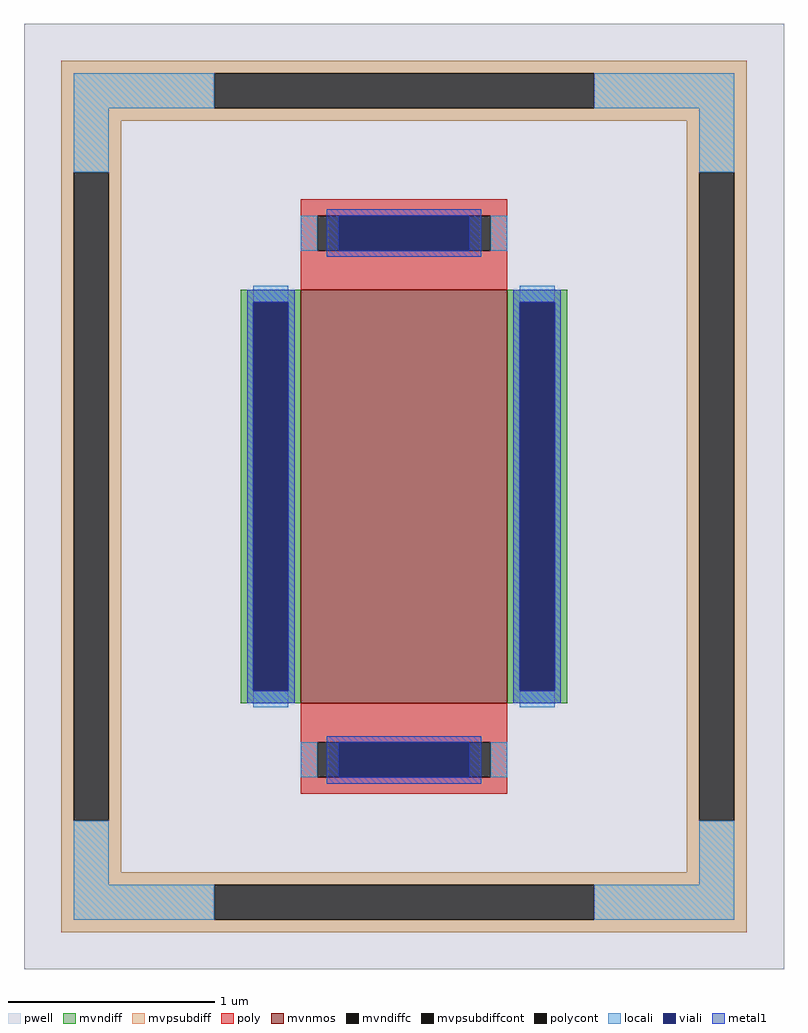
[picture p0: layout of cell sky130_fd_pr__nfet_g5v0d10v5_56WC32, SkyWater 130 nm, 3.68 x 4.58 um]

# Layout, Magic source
magic
tech sky130A
magscale 1 2
<< pwell >>
rect -368 -458 368 458
<< mvnmos >>
rect -100 -200 100 200
<< mvndiff >>
rect -158 188 -100 200
rect -158 -188 -146 188
rect -112 -188 -100 188
rect -158 -200 -100 -188
rect 100 188 158 200
rect 100 -188 112 188
rect 146 -188 158 188
rect 100 -200 158 -188
<< mvndiffc >>
rect -146 -188 -112 188
rect 112 -188 146 188
<< mvpsubdiff >>
rect -332 410 332 422
rect -332 376 -184 410
rect 184 376 332 410
rect -332 364 332 376
rect -332 314 -274 364
rect -332 -314 -320 314
rect -286 -314 -274 314
rect 274 314 332 364
rect -332 -364 -274 -314
rect 274 -314 286 314
rect 320 -314 332 314
rect 274 -364 332 -314
rect -332 -376 332 -364
rect -332 -410 -184 -376
rect 184 -410 332 -376
rect -332 -422 332 -410
<< mvpsubdiffcont >>
rect -184 376 184 410
rect -320 -314 -286 314
rect 286 -314 320 314
rect -184 -410 184 -376
<< poly >>
rect -100 272 100 288
rect -100 238 -84 272
rect 84 238 100 272
rect -100 200 100 238
rect -100 -238 100 -200
rect -100 -272 -84 -238
rect 84 -272 100 -238
rect -100 -288 100 -272
<< polycont >>
rect -84 238 84 272
rect -84 -272 84 -238
<< locali >>
rect -320 376 -184 410
rect 184 376 320 410
rect -320 314 -286 376
rect 286 314 320 376
rect -100 238 -84 272
rect 84 238 100 272
rect -146 188 -112 204
rect -146 -204 -112 -188
rect 112 188 146 204
rect 112 -204 146 -188
rect -100 -272 -84 -238
rect 84 -272 100 -238
rect -320 -376 -286 -314
rect 286 -376 320 -314
rect -320 -410 -184 -376
rect 184 -410 320 -376
<< viali >>
rect -63 238 63 272
rect -146 -188 -112 188
rect 112 -188 146 188
rect -63 -272 63 -238
<< metal1 >>
rect -75 272 75 278
rect -75 238 -63 272
rect 63 238 75 272
rect -75 232 75 238
rect -152 188 -106 200
rect -152 -188 -146 188
rect -112 -188 -106 188
rect -152 -200 -106 -188
rect 106 188 152 200
rect 106 -188 112 188
rect 146 -188 152 188
rect 106 -200 152 -188
rect -75 -238 75 -232
rect -75 -272 -63 -238
rect 63 -272 75 -238
rect -75 -278 75 -272
<< properties >>
string FIXED_BBOX -263 -393 263 393
string gencell sky130_fd_pr__nfet_g5v0d10v5
string library sky130
string parameters w 2 l 1 m 1 nf 1 diffcov 100 polycov 100 guard 1 glc 1 grc 1 gtc 1 gbc 1 tbcov 100 rlcov 100 topc 1 botc 1 poverlap 0 doverlap 1 lmin 0.50 wmin 0.42 compatible {sky130_fd_pr__nfet_01v8 sky130_fd_pr__nfet_01v8_lvt  sky130_fd_bs_flash__special_sonosfet_star  sky130_fd_pr__nfet_g5v0d10v5 sky130_fd_pr__nfet_05v0_nvt  sky130_fd_pr__nfet_03v3_nvt} full_metal 1 viasrc 100 viadrn 100 viagate 75 viagb 0 viagr 0 viagl 0 viagt 0
<< end >>
